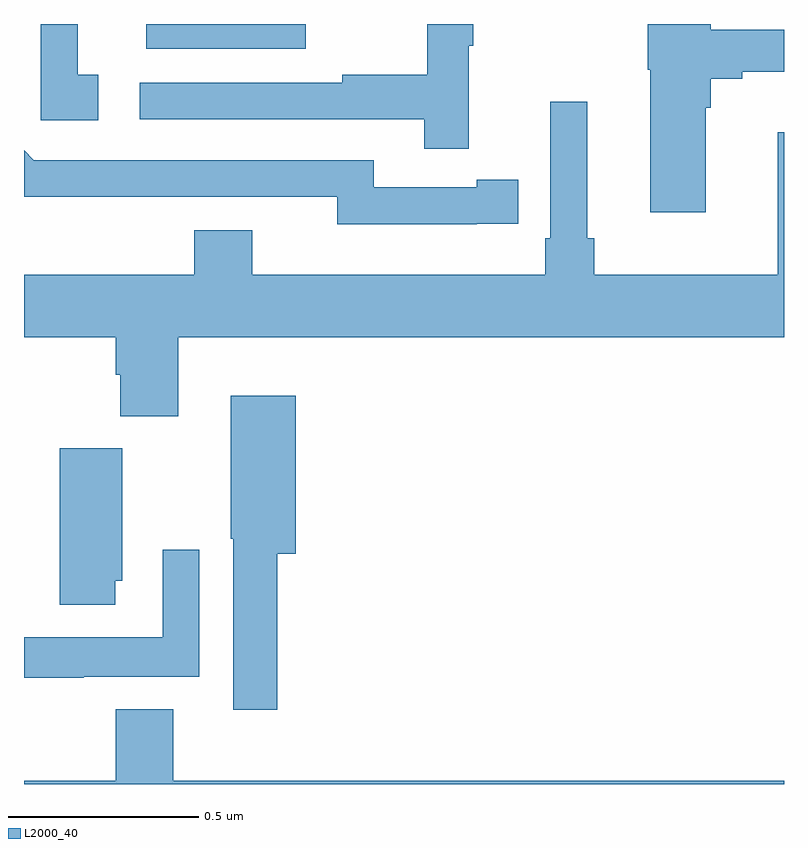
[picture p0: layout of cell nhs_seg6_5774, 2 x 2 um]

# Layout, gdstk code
import gdstk
lib = gdstk.Library(unit=1e-6, precision=1e-09)
def R(c, l, rs):  # rectangles x0, y0, x1, y1
    for r in rs: c.add(gdstk.rectangle(r[:2], r[2:], *l))
def P(c, l, *ps):  # polygons
    for p in ps: c.add(gdstk.Polygon(p, *l))
L2000_40 = (2000, 40)

nhs_seg6_5774 = lib.new_cell('nhs_seg6_5774')
R(nhs_seg6_5774, L2000_40, [(187.322,941.435,187.741,941.5)])
P(nhs_seg6_5774, L2000_40, [(187.195,941.367),(187.142,941.367),(187.142,941.5),(187.044,941.5),(187.044,941.247),(187.195,941.247)],
  [(188.171,941.443),(188.182,941.443),(188.182,941.5),(188.061,941.5),(188.061,941.366),(187.837,941.366),(187.837,941.346),(187.305,941.346),(187.305,941.25),(188.053,941.25),(188.053,941.172),(188.171,941.172)],
  [(188.794,941.279),(188.807,941.279),(188.807,941.356),(188.89,941.356),(188.89,941.375),(189,941.375),(189,941.485),(188.807,941.485),(188.807,941.5),(188.641,941.5),(188.641,941.379),(188.648,941.379),(188.648,941.004),(188.794,941.004)],
  [(189,941.215),(188.984,941.215),(188.984,940.84),(188.501,940.84),(188.501,940.936),(188.482,940.936),(188.482,941.296),(188.385,941.296),(188.385,940.936),(188.372,940.936),(188.372,940.84),(187.6,940.84),(187.6,940.957),(187.448,940.957),(187.448,940.84),(187,940.84),(187,940.676),(187.241,940.676),(187.241,940.577),(187.253,940.577),(187.253,940.468),(187.406,940.468),(187.406,940.676),(189,940.676)],
  [(188.192,940.974),(188.3,940.974),(188.3,941.09),(188.192,941.09),(188.192,941.07),(187.92,941.07),(187.92,941.142),(187.026,941.142),(187,941.168),(187,941.045),(187.364,941.045),(187.364,941.046),(187.824,941.046),(187.824,940.973),(188.192,940.973)],
  [(187.667,940.106),(187.715,940.106),(187.715,940.522),(187.544,940.522),(187.544,940.146),(187.551,940.146),(187.551,939.696),(187.667,939.696)],
  [(187.24,940.035),(187.258,940.035),(187.258,940.383),(187.094,940.383),(187.094,939.972),(187.24,939.972)],
  [(187.157,939.782),(187.461,939.782),(187.461,940.117),(187.365,940.117),(187.365,939.886),(187,939.886),(187,939.78),(187.157,939.78)],
  [(189,939.508),(187.393,939.508),(187.393,939.697),(187.241,939.697),(187.241,939.508),(187,939.508),(187,939.5),(189,939.5)])

lib.write_gds('nhs_seg6_5774.gds')
